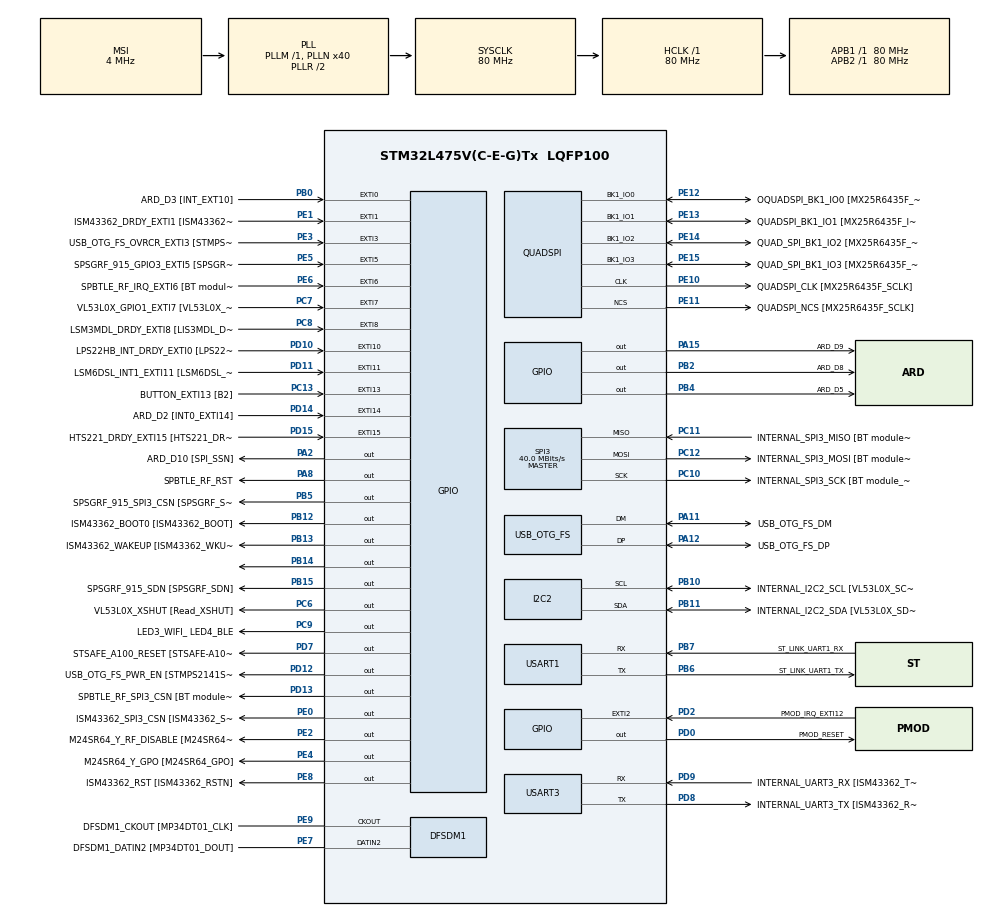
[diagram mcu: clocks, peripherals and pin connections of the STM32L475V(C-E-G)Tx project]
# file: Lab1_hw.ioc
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FREERTOS.BinarySemaphores01=TimerSem,Dynamic,NULL,Depleted;ButtonSem,Dynamic,NULL,Depleted
FREERTOS.Mutexes01=Led2Mutex,Dynamic,NULL,Available
FREERTOS.Queues01=ButtonEvtQueue,5,uint16_t,0,Dynamic,NULL,NULL
FREERTOS.Tasks01=defaultTask,24,128,StartDefaultTask,Default,NULL,Dynamic,NULL,NULL;myTask02,16,128,StartTask02,Default,NULL,Dynamic,NULL,NULL;myTask03,24,128,StartTask03,Default,NULL,Dynamic,NULL,NULL
Mcu.Family=STM32L4
Mcu.Name=STM32L475V(C-E-G)Tx
Mcu.Package=LQFP100
NVIC.EXTI15_10_IRQn=true\:5\:0\:false\:false\:true\:true\:true\:true\:true
NVIC.EXTI9_5_IRQn=true\:5\:0\:false\:false\:true\:true\:true\:true\:true
NVIC.PriorityGroup=NVIC_PRIORITYGROUP_4
NVIC.TIM2_IRQn=true\:15\:0\:false\:false\:true\:false\:false\:true\:true
NVIC.TIM6_DAC_IRQn=true\:5\:0\:false\:false\:true\:true\:true\:true\:true
NVIC.TimeBase=TIM2_IRQn
NVIC.TimeBaseIP=TIM2
PA0.GPIO_Label=ARD_D1 [UART4_TX]
PA0.Signal=UART4_TX
PA1.GPIO_Label=ARD_D0 [UART4_RX]
PA1.Signal=UART4_RX
PA10.GPIO_Label=USB_OTG_FS_ID
PA10.Signal=USB_OTG_FS_ID
PA11.GPIO_Label=USB_OTG_FS_DM
PA11.Mode=Device_Only
PA11.Signal=USB_OTG_FS_DM
PA12.GPIO_Label=USB_OTG_FS_DP
PA12.Mode=Device_Only
PA12.Signal=USB_OTG_FS_DP
PA13\ (JTMS-SWDIO).GPIO_Label=SYS_JTMS_SWDIO
PA13\ (JTMS-SWDIO).Mode=Serial_Wire
PA13\ (JTMS-SWDIO).Signal=SYS_JTMS-SWDIO
PA14\ (JTCK-SWCLK).GPIO_Label=SYS_JTCK_SWCLK
PA14\ (JTCK-SWCLK).Mode=Serial_Wire
PA14\ (JTCK-SWCLK).Signal=SYS_JTCK-SWCLK
PA15\ (JTDI).GPIO_Label=ARD_D9
PA15\ (JTDI).Signal=GPIO_Output
PA2.GPIO_Label=ARD_D10 [SPI_SSN]
PA2.Signal=GPIO_Output
PA3.GPIO_Label=ARD_D4
PA3.Signal=S_TIM2_CH4
PA4.GPIO_Label=ARD_D7
PA4.Signal=ADCx_IN9
PA5.GPIO_Label=ARD_D13 [SPI1_SCK]
PA5.Signal=SPI1_SCK
PA6.GPIO_Label=ARD_D12 [SPI1_MISO]
PA6.Signal=SPI1_MISO
PA7.GPIO_Label=ARD_D11 [SPI1_MOSI]
PA7.Signal=SPI1_MOSI
PA8.GPIO_Label=SPBTLE_RF_RST
PA8.Signal=GPIO_Output
PA9.GPIO_Label=USB_OTG_FS_VBUS [STMPS2141STR_OUT]
PA9.Signal=USB_OTG_FS_VBUS
PB0.GPIO_Label=ARD_D3 [INT_EXT10]
PB0.Signal=GPXTI0
PB1.GPIO_Label=ARD_D6 [ADC1_IN6]
PB1.Signal=ADCx_IN16
PB10.GPIO_Label=INTERNAL_I2C2_SCL [VL53L0X_SCL]
PB10.GPIO_Pu=GPIO_PULLUP
PB10.Mode=I2C
PB10.Signal=I2C2_SCL
PB11.GPIO_Label=INTERNAL_I2C2_SDA [VL53L0X_SDA]
PB11.GPIO_Pu=GPIO_PULLUP
PB11.Mode=I2C
PB11.Signal=I2C2_SDA
PB12.GPIO_Label=ISM43362_BOOT0 [ISM43362_BOOT]
PB12.Signal=GPIO_Output
PB13.GPIO_Label=ISM43362_WAKEUP [ISM43362_WKUP]
PB13.Signal=GPIO_Output
PB14.Signal=GPIO_Output
PB15.GPIO_Label=SPSGRF_915_SDN [SPSGRF_SDN]
PB15.Signal=GPIO_Output
PB2.GPIO_Label=ARD_D8
PB2.Signal=GPIO_Output
PB3\ (JTDO-TRACESWO).GPIO_Label=SYS_JTD0_SWO
PB3\ (JTDO-TRACESWO).Signal=SYS_JTDO-SWO
PB4\ (NJTRST).GPIO_Label=ARD_D5
PB4\ (NJTRST).Signal=GPIO_Output
PB5.GPIO_Label=SPSGRF_915_SPI3_CSN [SPSGRF_SPI_CS]
PB5.PinState=GPIO_PIN_SET
PB5.Signal=GPIO_Output
PB6.GPIO_Label=ST_LINK_UART1_TX
PB6.Mode=Asynchronous
PB6.Signal=USART1_TX
PB7.GPIO_Label=ST_LINK_UART1_RX
PB7.Mode=Asynchronous
PB7.Signal=USART1_RX
PB8.GPIO_Label=ARD_D15 [I2C1_SCL]
PB8.Signal=I2C1_SCL
PB9.GPIO_Label=ARD_D14 [I2C1_SDA]
PB9.Signal=I2C1_SDA
PC0.GPIO_Label=ARD_A5 [ADC]
PC0.Signal=ADCx_IN1
PC1.GPIO_Label=ARD_A4 [ADC]
PC1.Signal=ADCx_IN2
PC10.GPIO_Label=INTERNAL_SPI3_SCK [BT module_SPI_SCLK] [ISM43362_SCK]
PC10.Mode=Full_Duplex_Master
PC10.Signal=SPI3_SCK
PC11.GPIO_Label=INTERNAL_SPI3_MISO [BT module_SPI_MISO] [ISM43362_MISO]
PC11.Mode=Full_Duplex_Master
PC11.Signal=SPI3_MISO
PC12.GPIO_Label=INTERNAL_SPI3_MOSI [BT module_SPI_MOSI] [ISM43362_MOSI]
PC12.Mode=Full_Duplex_Master
PC12.Signal=SPI3_MOSI
PC13.GPIO_Label=BUTTON_EXTI13 [B2]
PC13.GPIO_ModeDefaultEXTI=GPIO_MODE_IT_RISING_FALLING
PC13.Signal=GPXTI13
PC14-OSC32_IN\ (PC14).Mode=LSE-External-Oscillator
PC14-OSC32_IN\ (PC14).Signal=RCC_OSC32_IN
PC15-OSC32_OUT\ (PC15).Mode=LSE-External-Oscillator
PC15-OSC32_OUT\ (PC15).Signal=RCC_OSC32_OUT
PC2.GPIO_Label=ARD_A3 [ADC]
PC2.Signal=ADCx_IN3
PC3.GPIO_Label=ARD_A2 [ADC]
PC3.Signal=ADCx_IN4
PC4.GPIO_Label=ARD_A1 [ADC]
PC4.Signal=ADCx_IN13
PC5.GPIO_Label=ARD_A0 [ADC]
PC5.Signal=ADCx_IN14
PC6.GPIO_Label=VL53L0X_XSHUT [Read_XSHUT]
PC6.Signal=GPIO_Output
PC7.GPIO_Label=VL53L0X_GPIO1_EXTI7 [VL53L0X_GPIO1]
PC7.Signal=GPXTI7
PC8.GPIO_Label=LSM3MDL_DRDY_EXTI8 [LIS3MDL_DRDY]
PC8.Signal=GPXTI8
PC9.GPIO_Label=LED3_WIFI_ LED4_BLE
PC9.Signal=GPIO_Output
PD0.GPIO_Label=PMOD_RESET
PD0.Signal=GPIO_Output
PD1.GPIO_Label=PMOD_SPI2_SCK
PD1.Signal=SPI2_SCK
PD10.GPIO_Label=LPS22HB_INT_DRDY_EXTI0 [LPS22HB_INT_DRDY] 
PD10.Signal=GPXTI10
PD11.GPIO_Label=LSM6DSL_INT1_EXTI11 [LSM6DSL_INT1]
PD11.Signal=GPXTI11
PD12.GPIO_Label=USB_OTG_FS_PWR_EN [STMPS2141STR_EN]
PD12.Signal=GPIO_Output
PD13.GPIO_Label=SPBTLE_RF_SPI3_CSN [BT module_SPI_CS]
PD13.PinState=GPIO_PIN_SET
PD13.Signal=GPIO_Output
PD14.GPIO_Label=ARD_D2 [INT0_EXTI14]
PD14.Signal=GPXTI14
PD15.GPIO_Label=HTS221_DRDY_EXTI15 [HTS221_DRDY]
PD15.Signal=GPXTI15
PD2.GPIO_Label=PMOD_IRQ_EXTI12
PD2.Signal=GPXTI2
PD3.GPIO_Label=PMOD_UART2_CTS
PD3.Signal=USART2_CTS
PD4.GPIO_Label=PMOD_UART2_RTS
PD4.Signal=USART2_RTS
PD5.GPIO_Label=PMOD_UART2_TX
PD5.Signal=USART2_TX
PD6.GPIO_Label=PMOD_UART2_RX
PD6.Signal=USART2_RX
PD7.GPIO_Label=STSAFE_A100_RESET [STSAFE-A100_RESET]
PD7.Signal=GPIO_Output
PD8.GPIO_Label=INTERNAL_UART3_TX [ISM43362_RX]
PD8.Mode=Asynchronous
PD8.Signal=USART3_TX
PD9.GPIO_Label=INTERNAL_UART3_RX [ISM43362_TX]
PD9.Mode=Asynchronous
PD9.Signal=USART3_RX
PE0.GPIO_Label=ISM43362_SPI3_CSN [ISM43362_SSN]
PE0.PinState=GPIO_PIN_SET
PE0.Signal=GPIO_Output
PE1.GPIO_Label=ISM43362_DRDY_EXTI1 [ISM43362_DATARDY]
PE1.Signal=GPXTI1
PE10.GPIO_Label=QUADSPI_CLK [MX25R6435F_SCLK]
PE10.Mode=Single Bank
PE10.Signal=QUADSPI_CLK
PE11.GPIO_Label=QUADSPI_NCS [MX25R6435F_SCLK]
PE11.Mode=Single Bank
PE11.Signal=QUADSPI_NCS
PE12.GPIO_Label=OQUADSPI_BK1_IO0 [MX25R6435F_IO0]
PE12.Mode=Single Bank
PE12.Signal=QUADSPI_BK1_IO0
PE13.GPIO_Label=QUADSPI_BK1_IO1 [MX25R6435F_IO1]
PE13.Mode=Single Bank
PE13.Signal=QUADSPI_BK1_IO1
PE14.GPIO_Label=QUAD_SPI_BK1_IO2 [MX25R6435F_IO2]
PE14.Mode=Single Bank
PE14.Signal=QUADSPI_BK1_IO2
PE15.GPIO_Label=QUAD_SPI_BK1_IO3 [MX25R6435F_IO3]
PE15.Mode=Single Bank
PE15.Signal=QUADSPI_BK1_IO3
PE2.GPIO_Label=M24SR64_Y_RF_DISABLE [M24SR64_RFDIS]
PE2.Signal=GPIO_Output
PE3.GPIO_Label=USB_OTG_FS_OVRCR_EXTI3 [STMPS2141STR_FAULT]
PE3.Signal=GPXTI3
PE4.GPIO_Label=M24SR64_Y_GPO [M24SR64_GPO]
PE4.Signal=GPIO_Output
PE5.GPIO_Label=SPSGRF_915_GPIO3_EXTI5 [SPSGRF_GPIO_3]
PE5.Signal=GPXTI5
PE6.GPIO_Label=SPBTLE_RF_IRQ_EXTI6 [BT module_SPI_IRQ]
PE6.Signal=GPXTI6
PE7.GPIO_Label=DFSDM1_DATIN2 [MP34DT01_DOUT]
PE7.Signal=S_DATAIN2DFSDM1
PE8.GPIO_Label=ISM43362_RST [ISM43362_RSTN]
PE8.Signal=GPIO_Output
PE9.GPIO_Label=DFSDM1_CKOUT [MP34DT01_CLK]
PE9.Signal=S_CKOUTDFSDM1
ProjectManager.HeapSize=0x200
ProjectManager.StackSize=0x400
ProjectManager.TargetToolchain=STM32CubeIDE
QUADSPI.ClockPrescaler=2
QUADSPI.FifoThreshold=4
QUADSPI.FlashSize=23
QUADSPI.SampleShifting=QSPI_SAMPLE_SHIFTING_HALFCYCLE
RCC.ADCFreq_Value=48000000
RCC.AHBFreq_Value=80000000
RCC.APB1Freq_Value=80000000
RCC.APB1TimFreq_Value=80000000
RCC.APB2Freq_Value=80000000
RCC.APB2TimFreq_Value=80000000
RCC.CortexFreq_Value=80000000
RCC.HCLKFreq_Value=80000000
RCC.HSE_VALUE=8000000
RCC.HSI_VALUE=16000000
RCC.MSI_VALUE=4000000
RCC.PLLN=40
RCC.PLLSAI1N=24
RCC.SYSCLKFreq_VALUE=80000000
RCC.SYSCLKSource=RCC_SYSCLKSOURCE_PLLCLK
RCC.USBFreq_Value=48000000
RCC.VCOOutputFreq_Value=160000000
SH.ADCx_IN1.0=ADC1_IN1
SH.ADCx_IN13.0=ADC1_IN13
SH.ADCx_IN14.0=ADC1_IN14
SH.ADCx_IN16.0=ADC1_IN16
SH.ADCx_IN2.0=ADC1_IN2
SH.ADCx_IN3.0=ADC1_IN3
SH.ADCx_IN4.0=ADC1_IN4
SH.ADCx_IN9.0=ADC1_IN9
SH.S_CKOUTDFSDM1.0=DFSDM1_CKOUT,CKOUT
SH.S_CKOUTDFSDM1.1=DFSDM1_CKOUT,PDM_SPI_Input_from_ch12_and_Internal_Clock
SH.S_DATAIN2DFSDM1.0=DFSDM1_DATIN2,PDM_SPI_Input_from_ch12_and_Internal_Clock
SH.S_TIM2_CH4.0=TIM2_CH4
SPI3.CalculateBaudRate=40.0 MBits/s
SPI3.Direction=SPI_DIRECTION_2LINES
SPI3.Mode=SPI_MODE_MASTER
SPI3.VirtualType=VM_MASTER
TIM6.Period=9999
TIM6.Prescaler=7999
USART1.VirtualMode-Asynchronous=VM_ASYNC
USART3.VirtualMode-Asynchronous=VM_ASYNC
USB_OTG_FS.VirtualMode=Device_Only
VP_FREERTOS_VS_CMSIS_V2.Mode=CMSIS_V2
VP_SYS_VS_tim2.Mode=TIM2
VP_TIM6_VS_ClockSourceINT.Mode=Enable_Timer
board=B-L475E-IOT01A2

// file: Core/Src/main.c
/* USER CODE BEGIN Header */
/**
  ******************************************************************************
  * @file           : main.c
  * @brief          : Main program body
  ******************************************************************************
  * @attention
  *
  * Copyright (c) 2026 STMicroelectronics.
  * All rights reserved.
  *
  * This software is licensed under terms that can be found in the LICENSE file
  * in the root directory of this software component.
  * If no LICENSE file comes with this software, it is provided AS-IS.
  *
  ******************************************************************************
  */
/* USER CODE END Header */
#include "main.h"
#include "cmsis_os.h"

/* USER CODE BEGIN Includes */
extern osSemaphoreId_t ButtonSemHandle;
extern osSemaphoreId_t TimerSemHandle;
extern osMutexId_t     Led2MutexHandle;

/* USER CODE END Includes */

/* USER CODE BEGIN PTD */
typedef enum {
  BTN_EVT_SHORT = 1,
  BTN_EVT_LONG  = 2
} ButtonEvent_t;
static uint32_t pressTick = 0;   // 按下的時間
static uint8_t  isPressed = 0;   // 狀態：目前是否在按住
/* USER CODE END PTD */

DFSDM_Channel_HandleTypeDef hdfsdm1_channel1;

I2C_HandleTypeDef hi2c2;

QSPI_HandleTypeDef hqspi;

SPI_HandleTypeDef hspi3;

TIM_HandleTypeDef htim6;

UART_HandleTypeDef huart1;
UART_HandleTypeDef huart3;

PCD_HandleTypeDef hpcd_USB_OTG_FS;

/* Definitions for defaultTask */
osThreadId_t defaultTaskHandle;
const osThreadAttr_t defaultTask_attributes = {
  .name = "defaultTask",
  .stack_size = 128 * 4,
  .priority = (osPriority_t) osPriorityNormal,
};
/* Definitions for myTask02 */
osThreadId_t myTask02Handle;
const osThreadAttr_t myTask02_attributes = {
  .name = "myTask02",
  .stack_size = 128 * 4,
  .priority = (osPriority_t) osPriorityBelowNormal,
};
/* Definitions for myTask03 */
osThreadId_t myTask03Handle;
const osThreadAttr_t myTask03_attributes = {
  .name = "myTask03",
  .stack_size = 128 * 4,
  .priority = (osPriority_t) osPriorityNormal,
};
/* Definitions for ButtonEvtQueue */
osMessageQueueId_t ButtonEvtQueueHandle;
const osMessageQueueAttr_t ButtonEvtQueue_attributes = {
  .name = "ButtonEvtQueue"
};
/* Definitions for Led2Mutex */
osMutexId_t Led2MutexHandle;
const osMutexAttr_t Led2Mutex_attributes = {
  .name = "Led2Mutex"
};
/* Definitions for TimerSem */
osSemaphoreId_t TimerSemHandle;
const osSemaphoreAttr_t TimerSem_attributes = {
  .name = "TimerSem"
};
/* Definitions for ButtonSem */
osSemaphoreId_t ButtonSemHandle;
const osSemaphoreAttr_t ButtonSem_attributes = {
  .name = "ButtonSem"
};

void SystemClock_Config(void);
static void MX_GPIO_Init(void);
static void MX_DFSDM1_Init(void);
static void MX_I2C2_Init(void);
static void MX_QUADSPI_Init(void);
static void MX_SPI3_Init(void);
static void MX_USART1_UART_Init(void);
static void MX_USART3_UART_Init(void);
static void MX_USB_OTG_FS_PCD_Init(void);
static void MX_TIM6_Init(void);
void StartDefaultTask(void *argument);
void StartTask02(void *argument);
void StartTask03(void *argument);

int main(void)
{

  /* MCU Configuration--------------------------------------------------------*/

  /* Reset of all peripherals, Initializes the Flash interface and the Systick. */
  HAL_Init();

  /* Configure the system clock */
  SystemClock_Config();

  /* Initialize all configured peripherals */
  MX_GPIO_Init();
  MX_DFSDM1_Init();
  MX_I2C2_Init();
  MX_QUADSPI_Init();
  MX_SPI3_Init();
  MX_USART1_UART_Init();
  MX_USART3_UART_Init();
  MX_USB_OTG_FS_PCD_Init();
  MX_TIM6_Init();
  /* USER CODE BEGIN 2 */
  HAL_TIM_Base_Start_IT(&htim6);   // 啟動 TIM6 週期中斷

  /* USER CODE END 2 */

  /* Init scheduler */
  osKernelInitialize();
  /* Create the mutex(es) */
  /* creation of Led2Mutex */
  Led2MutexHandle = osMutexNew(&Led2Mutex_attributes);

  /* Create the semaphores(s) */
  /* creation of TimerSem */
  TimerSemHandle = osSemaphoreNew(1, 0, &TimerSem_attributes);

  /* creation of ButtonSem */
  ButtonSemHandle = osSemaphoreNew(1, 0, &ButtonSem_attributes);

  /* Create the queue(s) */
  /* creation of ButtonEvtQueue */
  ButtonEvtQueueHandle = osMessageQueueNew (5, sizeof(uint16_t), &ButtonEvtQueue_attributes);

  /* Create the thread(s) */
  /* creation of defaultTask */
  defaultTaskHandle = osThreadNew(StartDefaultTask, NULL, &defaultTask_attributes);

  /* creation of myTask02 */
  myTask02Handle = osThreadNew(StartTask02, NULL, &myTask02_attributes);

  /* creation of myTask03 */
  myTask03Handle = osThreadNew(StartTask03, NULL, &myTask03_attributes);

  /* Start scheduler */
  osKernelStart();

  /* We should never get here as control is now taken by the scheduler */

  /* Infinite loop */
  while (1)
  {

  }
}

void SystemClock_Config(void)
{
  RCC_OscInitTypeDef RCC_OscInitStruct = {0};
  RCC_ClkInitTypeDef RCC_ClkInitStruct = {0};

  /** Configure the main internal regulator output voltage
  */
  if (HAL_PWREx_ControlVoltageScaling(PWR_REGULATOR_VOLTAGE_SCALE1) != HAL_OK)
  {
    Error_Handler();
  }

  /** Configure LSE Drive Capability
  */
  HAL_PWR_EnableBkUpAccess();
  __HAL_RCC_LSEDRIVE_CONFIG(RCC_LSEDRIVE_LOW);

  /** Initializes the RCC Oscillators according to the specified parameters
  * in the RCC_OscInitTypeDef structure.
  */
  RCC_OscInitStruct.OscillatorType = RCC_OSCILLATORTYPE_LSE|RCC_OSCILLATORTYPE_MSI;
  RCC_OscInitStruct.LSEState = RCC_LSE_ON;
  RCC_OscInitStruct.MSIState = RCC_MSI_ON;
  RCC_OscInitStruct.MSICalibrationValue = 0;
  RCC_OscInitStruct.MSIClockRange = RCC_MSIRANGE_6;
  RCC_OscInitStruct.PLL.PLLState = RCC_PLL_ON;
  RCC_OscInitStruct.PLL.PLLSource = RCC_PLLSOURCE_MSI;
  RCC_OscInitStruct.PLL.PLLM = 1;
  RCC_OscInitStruct.PLL.PLLN = 40;
  RCC_OscInitStruct.PLL.PLLP = RCC_PLLP_DIV7;
  RCC_OscInitStruct.PLL.PLLQ = RCC_PLLQ_DIV2;
  RCC_OscInitStruct.PLL.PLLR = RCC_PLLR_DIV2;
  if (HAL_RCC_OscConfig(&RCC_OscInitStruct) != HAL_OK)
  {
    Error_Handler();
  }

  /** Initializes the CPU, AHB and APB buses clocks
  */
  RCC_ClkInitStruct.ClockType = RCC_CLOCKTYPE_HCLK|RCC_CLOCKTYPE_SYSCLK
                              |RCC_CLOCKTYPE_PCLK1|RCC_CLOCKTYPE_PCLK2;
  RCC_ClkInitStruct.SYSCLKSource = RCC_SYSCLKSOURCE_PLLCLK;
  RCC_ClkInitStruct.AHBCLKDivider = RCC_SYSCLK_DIV1;
  RCC_ClkInitStruct.APB1CLKDivider = RCC_HCLK_DIV1;
  RCC_ClkInitStruct.APB2CLKDivider = RCC_HCLK_DIV1;

  if (HAL_RCC_ClockConfig(&RCC_ClkInitStruct, FLASH_LATENCY_4) != HAL_OK)
  {
    Error_Handler();
  }

  /** Enable MSI Auto calibration
  */
  HAL_RCCEx_EnableMSIPLLMode();
}

static void MX_DFSDM1_Init(void)
{

  hdfsdm1_channel1.Instance = DFSDM1_Channel1;
  hdfsdm1_channel1.Init.OutputClock.Activation = ENABLE;
  hdfsdm1_channel1.Init.OutputClock.Selection = DFSDM_CHANNEL_OUTPUT_CLOCK_SYSTEM;
  hdfsdm1_channel1.Init.OutputClock.Divider = 2;
  hdfsdm1_channel1.Init.Input.Multiplexer = DFSDM_CHANNEL_EXTERNAL_INPUTS;
  hdfsdm1_channel1.Init.Input.DataPacking = DFSDM_CHANNEL_STANDARD_MODE;
  hdfsdm1_channel1.Init.Input.Pins = DFSDM_CHANNEL_FOLLOWING_CHANNEL_PINS;
  hdfsdm1_channel1.Init.SerialInterface.Type = DFSDM_CHANNEL_SPI_RISING;
  hdfsdm1_channel1.Init.SerialInterface.SpiClock = DFSDM_CHANNEL_SPI_CLOCK_INTERNAL;
  hdfsdm1_channel1.Init.Awd.FilterOrder = DFSDM_CHANNEL_FASTSINC_ORDER;
  hdfsdm1_channel1.Init.Awd.Oversampling = 1;
  hdfsdm1_channel1.Init.Offset = 0;
  hdfsdm1_channel1.Init.RightBitShift = 0x00;
  if (HAL_DFSDM_ChannelInit(&hdfsdm1_channel1) != HAL_OK)
  {
    Error_Handler();
  }

}

static void MX_I2C2_Init(void)
{

  hi2c2.Instance = I2C2;
  hi2c2.Init.Timing = 0x00000E14;
  hi2c2.Init.OwnAddress1 = 0;
  hi2c2.Init.AddressingMode = I2C_ADDRESSINGMODE_7BIT;
  hi2c2.Init.DualAddressMode = I2C_DUALADDRESS_DISABLE;
  hi2c2.Init.OwnAddress2 = 0;
  hi2c2.Init.OwnAddress2Masks = I2C_OA2_NOMASK;
  hi2c2.Init.GeneralCallMode = I2C_GENERALCALL_DISABLE;
  hi2c2.Init.NoStretchMode = I2C_NOSTRETCH_DISABLE;
  if (HAL_I2C_Init(&hi2c2) != HAL_OK)
  {
    Error_Handler();
  }

  /** Configure Analogue filter
  */
  if (HAL_I2CEx_ConfigAnalogFilter(&hi2c2, I2C_ANALOGFILTER_ENABLE) != HAL_OK)
  {
    Error_Handler();
  }

  /** Configure Digital filter
  */
  if (HAL_I2CEx_ConfigDigitalFilter(&hi2c2, 0) != HAL_OK)
  {
    Error_Handler();
  }

}

static void MX_QUADSPI_Init(void)
{

  /* QUADSPI parameter configuration*/
  hqspi.Instance = QUADSPI;
  hqspi.Init.ClockPrescaler = 2;
  hqspi.Init.FifoThreshold = 4;
  hqspi.Init.SampleShifting = QSPI_SAMPLE_SHIFTING_HALFCYCLE;
  hqspi.Init.FlashSize = 23;
  hqspi.Init.ChipSelectHighTime = QSPI_CS_HIGH_TIME_1_CYCLE;
  hqspi.Init.ClockMode = QSPI_CLOCK_MODE_0;
  if (HAL_QSPI_Init(&hqspi) != HAL_OK)
  {
    Error_Handler();
  }

}

static void MX_SPI3_Init(void)
{

  /* SPI3 parameter configuration*/
  hspi3.Instance = SPI3;
  hspi3.Init.Mode = SPI_MODE_MASTER;
  hspi3.Init.Direction = SPI_DIRECTION_2LINES;
  hspi3.Init.DataSize = SPI_DATASIZE_4BIT;
  hspi3.Init.CLKPolarity = SPI_POLARITY_LOW;
  hspi3.Init.CLKPhase = SPI_PHASE_1EDGE;
  hspi3.Init.NSS = SPI_NSS_SOFT;
  hspi3.Init.BaudRatePrescaler = SPI_BAUDRATEPRESCALER_2;
  hspi3.Init.FirstBit = SPI_FIRSTBIT_MSB;
  hspi3.Init.TIMode = SPI_TIMODE_DISABLE;
  hspi3.Init.CRCCalculation = SPI_CRCCALCULATION_DISABLE;
  hspi3.Init.CRCPolynomial = 7;
  hspi3.Init.CRCLength = SPI_CRC_LENGTH_DATASIZE;
  hspi3.Init.NSSPMode = SPI_NSS_PULSE_ENABLE;
  if (HAL_SPI_Init(&hspi3) != HAL_OK)
  {
    Error_Handler();
  }

}

static void MX_TIM6_Init(void)
{

  TIM_MasterConfigTypeDef sMasterConfig = {0};

  htim6.Instance = TIM6;
  htim6.Init.Prescaler = 7999;
  htim6.Init.CounterMode = TIM_COUNTERMODE_UP;
  htim6.Init.Period = 9999;
  htim6.Init.AutoReloadPreload = TIM_AUTORELOAD_PRELOAD_DISABLE;
  if (HAL_TIM_Base_Init(&htim6) != HAL_OK)
  {
    Error_Handler();
  }
  sMasterConfig.MasterOutputTrigger = TIM_TRGO_RESET;
  sMasterConfig.MasterSlaveMode = TIM_MASTERSLAVEMODE_DISABLE;
  if (HAL_TIMEx_MasterConfigSynchronization(&htim6, &sMasterConfig) != HAL_OK)
  {
    Error_Handler();
  }

}

static void MX_USART1_UART_Init(void)
{

  huart1.Instance = USART1;
  huart1.Init.BaudRate = 115200;
  huart1.Init.WordLength = UART_WORDLENGTH_8B;
  huart1.Init.StopBits = UART_STOPBITS_1;
  huart1.Init.Parity = UART_PARITY_NONE;
  huart1.Init.Mode = UART_MODE_TX_RX;
  huart1.Init.HwFlowCtl = UART_HWCONTROL_NONE;
  huart1.Init.OverSampling = UART_OVERSAMPLING_16;
  huart1.Init.OneBitSampling = UART_ONE_BIT_SAMPLE_DISABLE;
  huart1.AdvancedInit.AdvFeatureInit = UART_ADVFEATURE_NO_INIT;
  if (HAL_UART_Init(&huart1) != HAL_OK)
  {
    Error_Handler();
  }

}

static void MX_USART3_UART_Init(void)
{

  huart3.Instance = USART3;
  huart3.Init.BaudRate = 115200;
  huart3.Init.WordLength = UART_WORDLENGTH_8B;
  huart3.Init.StopBits = UART_STOPBITS_1;
  huart3.Init.Parity = UART_PARITY_NONE;
  huart3.Init.Mode = UART_MODE_TX_RX;
  huart3.Init.HwFlowCtl = UART_HWCONTROL_NONE;
  huart3.Init.OverSampling = UART_OVERSAMPLING_16;
  huart3.Init.OneBitSampling = UART_ONE_BIT_SAMPLE_DISABLE;
  huart3.AdvancedInit.AdvFeatureInit = UART_ADVFEATURE_NO_INIT;
  if (HAL_UART_Init(&huart3) != HAL_OK)
  {
    Error_Handler();
  }

}

static void MX_USB_OTG_FS_PCD_Init(void)
{

  hpcd_USB_OTG_FS.Instance = USB_OTG_FS;
  hpcd_USB_OTG_FS.Init.dev_endpoints = 6;
  hpcd_USB_OTG_FS.Init.speed = PCD_SPEED_FULL;
  hpcd_USB_OTG_FS.Init.phy_itface = PCD_PHY_EMBEDDED;
  hpcd_USB_OTG_FS.Init.Sof_enable = DISABLE;
  hpcd_USB_OTG_FS.Init.low_power_enable = DISABLE;
  hpcd_USB_OTG_FS.Init.lpm_enable = DISABLE;
  hpcd_USB_OTG_FS.Init.battery_charging_enable = DISABLE;
  hpcd_USB_OTG_FS.Init.use_dedicated_ep1 = DISABLE;
  hpcd_USB_OTG_FS.Init.vbus_sensing_enable = DISABLE;
  if (HAL_PCD_Init(&hpcd_USB_OTG_FS) != HAL_OK)
  {
    Error_Handler();
  }

}

static void MX_GPIO_Init(void)
{
  GPIO_InitTypeDef GPIO_InitStruct = {0};

  /* GPIO Ports Clock Enable */
  __HAL_RCC_GPIOE_CLK_ENABLE();
  __HAL_RCC_GPIOC_CLK_ENABLE();
  __HAL_RCC_GPIOA_CLK_ENABLE();
  __HAL_RCC_GPIOB_CLK_ENABLE();
  __HAL_RCC_GPIOD_CLK_ENABLE();

  /*Configure GPIO pin Output Level */
  HAL_GPIO_WritePin(GPIOE, M24SR64_Y_RF_DISABLE_Pin|M24SR64_Y_GPO_Pin|ISM43362_RST_Pin, GPIO_PIN_RESET);

  /*Configure GPIO pin Output Level */
  HAL_GPIO_WritePin(GPIOA, ARD_D10_Pin|SPBTLE_RF_RST_Pin|ARD_D9_Pin, GPIO_PIN_RESET);

  /*Configure GPIO pin Output Level */
  HAL_GPIO_WritePin(GPIOB, ARD_D8_Pin|ISM43362_BOOT0_Pin|ISM43362_WAKEUP_Pin|GPIO_PIN_14
                          |SPSGRF_915_SDN_Pin|ARD_D5_Pin, GPIO_PIN_RESET);

  /*Configure GPIO pin Output Level */
  HAL_GPIO_WritePin(GPIOD, USB_OTG_FS_PWR_EN_Pin|PMOD_RESET_Pin|STSAFE_A100_RESET_Pin, GPIO_PIN_RESET);

  /*Configure GPIO pin Output Level */
  HAL_GPIO_WritePin(SPBTLE_RF_SPI3_CSN_GPIO_Port, SPBTLE_RF_SPI3_CSN_Pin, GPIO_PIN_SET);

  /*Configure GPIO pin Output Level */
  HAL_GPIO_WritePin(GPIOC, VL53L0X_XSHUT_Pin|LED3_WIFI__LED4_BLE_Pin, GPIO_PIN_RESET);

  /*Configure GPIO pin Output Level */
  HAL_GPIO_WritePin(SPSGRF_915_SPI3_CSN_GPIO_Port, SPSGRF_915_SPI3_CSN_Pin, GPIO_PIN_SET);

  /*Configure GPIO pin Output Level */
  HAL_GPIO_WritePin(ISM43362_SPI3_CSN_GPIO_Port, ISM43362_SPI3_CSN_Pin, GPIO_PIN_SET);

  /*Configure GPIO pins : M24SR64_Y_RF_DISABLE_Pin M24SR64_Y_GPO_Pin ISM43362_RST_Pin ISM43362_SPI3_CSN_Pin */
  GPIO_InitStruct.Pin = M24SR64_Y_RF_DISABLE_Pin|M24SR64_Y_GPO_Pin|ISM43362_RST_Pin|ISM43362_SPI3_CSN_Pin;
  GPIO_InitStruct.Mode = GPIO_MODE_OUTPUT_PP;
  GPIO_InitStruct.Pull = GPIO_NOPULL;
  GPIO_InitStruct.Speed = GPIO_SPEED_FREQ_LOW;
  HAL_GPIO_Init(GPIOE, &GPIO_InitStruct);

  /*Configure GPIO pins : USB_OTG_FS_OVRCR_EXTI3_Pin SPSGRF_915_GPIO3_EXTI5_Pin SPBTLE_RF_IRQ_EXTI6_Pin ISM43362_DRDY_EXTI1_Pin */
  GPIO_InitStruct.Pin = USB_OTG_FS_OVRCR_EXTI3_Pin|SPSGRF_915_GPIO3_EXTI5_Pin|SPBTLE_RF_IRQ_EXTI6_Pin|ISM43362_DRDY_EXTI1_Pin;
  GPIO_InitStruct.Mode = GPIO_MODE_IT_RISING;
  GPIO_InitStruct.Pull = GPIO_NOPULL;
  HAL_GPIO_Init(GPIOE, &GPIO_InitStruct);

  /*Configure GPIO pin : BUTTON_EXTI13_Pin */
  GPIO_InitStruct.Pin = BUTTON_EXTI13_Pin;
  GPIO_InitStruct.Mode = GPIO_MODE_IT_RISING_FALLING;
  GPIO_InitStruct.Pull = GPIO_NOPULL;
  HAL_GPIO_Init(BUTTON_EXTI13_GPIO_Port, &GPIO_InitStruct);

  /*Configure GPIO pins : ARD_A5_Pin ARD_A4_Pin ARD_A3_Pin ARD_A2_Pin
                           ARD_A1_Pin ARD_A0_Pin */
  GPIO_InitStruct.Pin = ARD_A5_Pin|ARD_A4_Pin|ARD_A3_Pin|ARD_A2_Pin
                          |ARD_A1_Pin|ARD_A0_Pin;
  GPIO_InitStruct.Mode = GPIO_MODE_ANALOG_ADC_CONTROL;
  GPIO_InitStruct.Pull = GPIO_NOPULL;
  HAL_GPIO_Init(GPIOC, &GPIO_InitStruct);

  /*Configure GPIO pins : ARD_D1_Pin ARD_D0_Pin */
  GPIO_InitStruct.Pin = ARD_D1_Pin|ARD_D0_Pin;
  GPIO_InitStruct.Mode = GPIO_MODE_AF_PP;
  GPIO_InitStruct.Pull = GPIO_NOPULL;
  GPIO_InitStruct.Speed = GPIO_SPEED_FREQ_VERY_HIGH;
  GPIO_InitStruct.Alternate = GPIO_AF8_UART4;
  HAL_GPIO_Init(GPIOA, &GPIO_InitStruct);

  /*Configure GPIO pins : ARD_D10_Pin SPBTLE_RF_RST_Pin ARD_D9_Pin */
  GPIO_InitStruct.Pin = ARD_D10_Pin|SPBTLE_RF_RST_Pin|ARD_D9_Pin;
  GPIO_InitStruct.Mode = GPIO_MODE_OUTPUT_PP;
  GPIO_InitStruct.Pull = GPIO_NOPULL;
  GPIO_InitStruct.Speed = GPIO_SPEED_FREQ_LOW;
  HAL_GPIO_Init(GPIOA, &GPIO_InitStruct);

  /*Configure GPIO pin : ARD_D4_Pin */
  GPIO_InitStruct.Pin = ARD_D4_Pin;
  GPIO_InitStruct.Mode = GPIO_MODE_AF_PP;
  GPIO_InitStruct.Pull = GPIO_NOPULL;
  GPIO_InitStruct.Speed = GPIO_SPEED_FREQ_LOW;
  GPIO_InitStruct.Alternate = GPIO_AF1_TIM2;
  HAL_GPIO_Init(ARD_D4_GPIO_Port, &GPIO_InitStruct);

  /*Configure GPIO pin : ARD_D7_Pin */
  GPIO_InitStruct.Pin = ARD_D7_Pin;
  GPIO_InitStruct.Mode = GPIO_MODE_ANALOG_ADC_CONTROL;
  GPIO_InitStruct.Pull = GPIO_NOPULL;
  HAL_GPIO_Init(ARD_D7_GPIO_Port, &GPIO_InitStruct);

  /*Configure GPIO pins : ARD_D13_Pin ARD_D12_Pin ARD_D11_Pin */
  GPIO_InitStruct.Pin = ARD_D13_Pin|ARD_D12_Pin|ARD_D11_Pin;
  GPIO_InitStruct.Mode = GPIO_MODE_AF_PP;
  GPIO_InitStruct.Pull = GPIO_NOPULL;
  GPIO_InitStruct.Speed = GPIO_SPEED_FREQ_VERY_HIGH;
  GPIO_InitStruct.Alternate = GPIO_AF5_SPI1;
  HAL_GPIO_Init(GPIOA, &GPIO_InitStruct);

  /*Configure GPIO pin : ARD_D3_Pin */
  GPIO_InitStruct.Pin = ARD_D3_Pin;
  GPIO_InitStruct.Mode = GPIO_MODE_IT_RISING;
  GPIO_InitStruct.Pull = GPIO_NOPULL;
  HAL_GPIO_Init(ARD_D3_GPIO_Port, &GPIO_InitStruct);

  /*Configure GPIO pin : ARD_D6_Pin */
  GPIO_InitStruct.Pin = ARD_D6_Pin;
  GPIO_InitStruct.Mode = GPIO_MODE_ANALOG_ADC_CONTROL;
  GPIO_InitStruct.Pull = GPIO_NOPULL;
  HAL_GPIO_Init(ARD_D6_GPIO_Port, &GPIO_InitStruct);

  /*Configure GPIO pins : ARD_D8_Pin ISM43362_BOOT0_Pin ISM43362_WAKEUP_Pin PB14
                           SPSGRF_915_SDN_Pin ARD_D5_Pin SPSGRF_915_SPI3_CSN_Pin */
  GPIO_InitStruct.Pin = ARD_D8_Pin|ISM43362_BOOT0_Pin|ISM43362_WAKEUP_Pin|GPIO_PIN_14
                          |SPSGRF_915_SDN_Pin|ARD_D5_Pin|SPSGRF_915_SPI3_CSN_Pin;
  GPIO_InitStruct.Mode = GPIO_MODE_OUTPUT_PP;
  GPIO_InitStruct.Pull = GPIO_NOPULL;
  GPIO_InitStruct.Speed = GPIO_SPEED_FREQ_LOW;
  HAL_GPIO_Init(GPIOB, &GPIO_InitStruct);

  /*Configure GPIO pins : LPS22HB_INT_DRDY_EXTI0_Pin LSM6DSL_INT1_EXTI11_Pin ARD_D2_Pin HTS221_DRDY_EXTI15_Pin
                           PMOD_IRQ_EXTI12_Pin */
  GPIO_InitStruct.Pin = LPS22HB_INT_DRDY_EXTI0_Pin|LSM6DSL_INT1_EXTI11_Pin|ARD_D2_Pin|HTS221_DRDY_EXTI15_Pin
                          |PMOD_IRQ_EXTI12_Pin;
  GPIO_InitStruct.Mode = GPIO_MODE_IT_RISING;
  GPIO_InitStruct.Pull = GPIO_NOPULL;
  HAL_GPIO_Init(GPIOD, &GPIO_InitStruct);

  /*Configure GPIO pins : USB_OTG_FS_PWR_EN_Pin SPBTLE_RF_SPI3_CSN_Pin PMOD_RESET_Pin STSAFE_A100_RESET_Pin */
  GPIO_InitStruct.Pin = USB_OTG_FS_PWR_EN_Pin|SPBTLE_RF_SPI3_CSN_Pin|PMOD_RESET_Pin|STSAFE_A100_RESET_Pin;
  GPIO_InitStruct.Mode = GPIO_MODE_OUTPUT_PP;
  GPIO_InitStruct.Pull = GPIO_NOPULL;
  GPIO_InitStruct.Speed = GPIO_SPEED_FREQ_LOW;
  HAL_GPIO_Init(GPIOD, &GPIO_InitStruct);

  /*Configure GPIO pins : VL53L0X_XSHUT_Pin LED3_WIFI__LED4_BLE_Pin */
  GPIO_InitStruct.Pin = VL53L0X_XSHUT_Pin|LED3_WIFI__LED4_BLE_Pin;
  GPIO_InitStruct.Mode = GPIO_MODE_OUTPUT_PP;
  GPIO_InitStruct.Pull = GPIO_NOPULL;
  GPIO_InitStruct.Speed = GPIO_SPEED_FREQ_LOW;
  HAL_GPIO_Init(GPIOC, &GPIO_InitStruct);

  /*Configure GPIO pins : VL53L0X_GPIO1_EXTI7_Pin LSM3MDL_DRDY_EXTI8_Pin */
  GPIO_InitStruct.Pin = VL53L0X_GPIO1_EXTI7_Pin|LSM3MDL_DRDY_EXTI8_Pin;
  GPIO_InitStruct.Mode = GPIO_MODE_IT_RISING;
  GPIO_InitStruct.Pull = GPIO_NOPULL;
  HAL_GPIO_Init(GPIOC, &GPIO_InitStruct);

  /*Configure GPIO pin : PMOD_SPI2_SCK_Pin */
  GPIO_InitStruct.Pin = PMOD_SPI2_SCK_Pin;
  GPIO_InitStruct.Mode = GPIO_MODE_AF_PP;
  GPIO_InitStruct.Pull = GPIO_NOPULL;
  GPIO_InitStruct.Speed = GPIO_SPEED_FREQ_VERY_HIGH;
  GPIO_InitStruct.Alternate = GPIO_AF5_SPI2;
  HAL_GPIO_Init(PMOD_SPI2_SCK_GPIO_Port, &GPIO_InitStruct);

  /*Configure GPIO pins : PMOD_UART2_CTS_Pin PMOD_UART2_RTS_Pin PMOD_UART2_TX_Pin PMOD_UART2_RX_Pin */
  GPIO_InitStruct.Pin = PMOD_UART2_CTS_Pin|PMOD_UART2_RTS_Pin|PMOD_UART2_TX_Pin|PMOD_UART2_RX_Pin;
  GPIO_InitStruct.Mode = GPIO_MODE_AF_PP;
  GPIO_InitStruct.Pull = GPIO_NOPULL;
  GPIO_InitStruct.Speed = GPIO_SPEED_FREQ_VERY_HIGH;
  GPIO_InitStruct.Alternate = GPIO_AF7_USART2;
  HAL_GPIO_Init(GPIOD, &GPIO_InitStruct);

  /*Configure GPIO pins : ARD_D15_Pin ARD_D14_Pin */
  GPIO_InitStruct.Pin = ARD_D15_Pin|ARD_D14_Pin;
  GPIO_InitStruct.Mode = GPIO_MODE_AF_OD;
  GPIO_InitStruct.Pull = GPIO_NOPULL;
  GPIO_InitStruct.Speed = GPIO_SPEED_FREQ_VERY_HIGH;
  GPIO_InitStruct.Alternate = GPIO_AF4_I2C1;
  HAL_GPIO_Init(GPIOB, &GPIO_InitStruct);

  /* EXTI interrupt init*/
  HAL_NVIC_SetPriority(EXTI9_5_IRQn, 5, 0);
  HAL_NVIC_EnableIRQ(EXTI9_5_IRQn);

  HAL_NVIC_SetPriority(EXTI15_10_IRQn, 5, 0);
  HAL_NVIC_EnableIRQ(EXTI15_10_IRQn);

}

/* USER CODE BEGIN 4 */
void HAL_GPIO_EXTI_Callback(uint16_t GPIO_Pin)
{
  if (GPIO_Pin == GPIO_PIN_13) {
	  uint32_t now = HAL_GetTick();
	  // 讀目前腳位狀態：「按下 = 0、放開 = 1」
	  GPIO_PinState level = HAL_GPIO_ReadPin(GPIOC, GPIO_PIN_13);

	  if (level == GPIO_PIN_RESET && isPressed == 0) {
		// 偵測到「按下」事件
		pressTick = now;
		isPressed = 1;
	  }
	  else if (level == GPIO_PIN_SET && isPressed == 1) {
		// 偵測到「放開」事件
		uint32_t held = now - pressTick;

		ButtonEvent_t evt;
		if (held >= 1000) {
		  evt = BTN_EVT_LONG;   // 按住 >= 1 秒
		} else {
		  evt = BTN_EVT_SHORT;  // 按住 < 1 秒
		}

		isPressed = 0;

		uint16_t msg = (uint16_t)evt;
		osMessageQueuePut(ButtonEvtQueueHandle, &msg, 0, 0);
	  }
  }
}
void HAL_TIM_PeriodElapsedCallback(TIM_HandleTypeDef *htim)
{
  if (htim->Instance == TIM6) {
    osSemaphoreRelease(TimerSemHandle);
  }
  if (htim->Instance == TIM2)
  {
    HAL_IncTick();
  }
}

/* USER CODE END 4 */

void StartDefaultTask(void *argument)
{
  for(;;)
  {
    osDelay(1);
  }
}

void StartTask02(void *argument)
{
  /* USER CODE BEGIN StartTask02 */
  /* Infinite loop */
  uint8_t msg;

  for(;;)
  {
	osMessageQueueGet(ButtonEvtQueueHandle, &msg, NULL, osWaitForever);

	ButtonEvent_t evt = (ButtonEvent_t)msg;

	uint32_t blinkPeriodMs;
	uint32_t totalTimeMs;

	if (evt == BTN_EVT_LONG) {
	  // 長按：10 Hz，5 秒
	  blinkPeriodMs = 100;
	  totalTimeMs   = 5000;
	} else {
	  // 短按：1 Hz，5 秒
	  blinkPeriodMs = 1000;
	  totalTimeMs   = 5000;
	}

	osMutexAcquire(Led2MutexHandle, osWaitForever);

	uint32_t elapsed = 0;
	while (elapsed < totalTimeMs)
	{
	  HAL_GPIO_TogglePin(GPIOB, GPIO_PIN_14);
	  osDelay(blinkPeriodMs / 2);
	  elapsed += blinkPeriodMs / 2;
	}

	HAL_GPIO_WritePin(GPIOB, GPIO_PIN_14, GPIO_PIN_RESET);

	osMutexRelease(Led2MutexHandle);
  }

  /* USER CODE END StartTask02 */
}

void StartTask03(void *argument)
{
  /* USER CODE BEGIN StartTask03 */
  /* Infinite loop */
	const uint32_t blinkPeriodMs = 100;  // 10 Hz
	const uint32_t totalTimeMs   = 2000; // 2 秒
	uint32_t secCounter = 0;
	for(;;)
	{
		// 等 TIM6 ISR 給 semaphore
		osSemaphoreAcquire(TimerSemHandle, osWaitForever);
		secCounter++;

	    if (secCounter < 10)
	    {
	      // 還沒到 10 秒
	      continue;
	    }

	    // 滿 10 秒了
	    secCounter = 0;

		osMutexAcquire(Led2MutexHandle, osWaitForever);

		uint32_t elapsed = 0;
		while (elapsed < totalTimeMs)
		{
		  HAL_GPIO_TogglePin(GPIOB, GPIO_PIN_14);
		  osDelay(blinkPeriodMs / 2);      // on/off 各 50 ms
		  elapsed += blinkPeriodMs / 2;
		}

		HAL_GPIO_WritePin(GPIOB, GPIO_PIN_14, GPIO_PIN_RESET);

		osMutexRelease(Led2MutexHandle);
	}
  /* USER CODE END StartTask03 */
}

void Error_Handler(void)
{
  __disable_irq();
  while (1)
  {
  }
}
